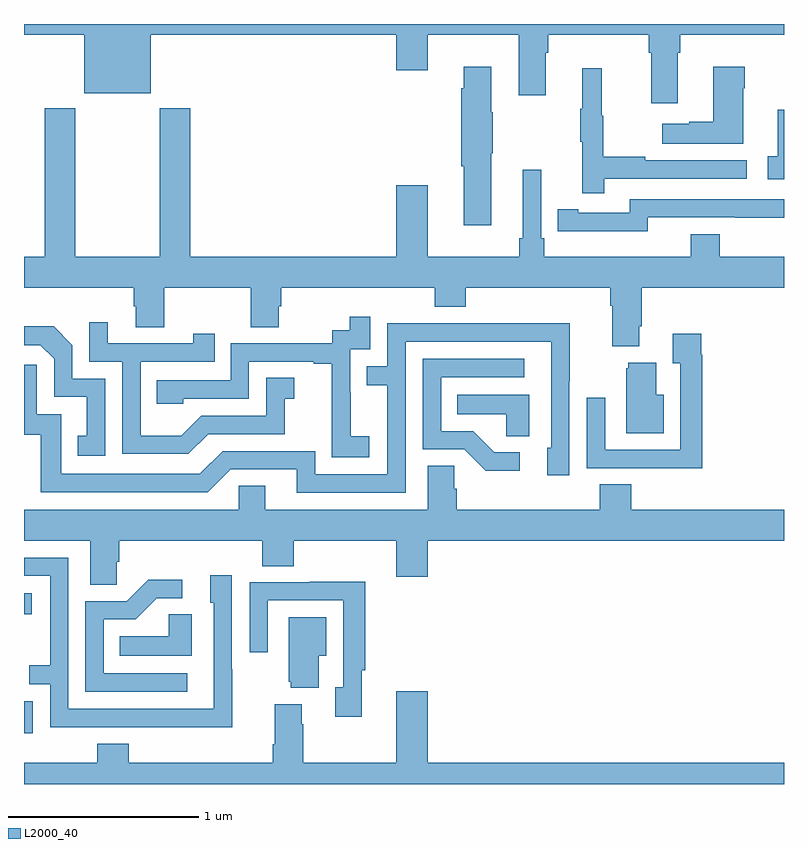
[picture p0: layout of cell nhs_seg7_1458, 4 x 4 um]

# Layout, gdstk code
import gdstk
lib = gdstk.Library(unit=1e-6, precision=1e-09)
def R(c, l, rs):  # rectangles x0, y0, x1, y1
    for r in rs: c.add(gdstk.rectangle(r[:2], r[2:], *l))
def P(c, l, *ps):  # polygons
    for p in ps: c.add(gdstk.Polygon(p, *l))
L2000_40 = (2000, 40)

nhs_seg7_1458 = lib.new_cell('nhs_seg7_1458')
R(nhs_seg7_1458, L2000_40, [(211,1002.267,211.047,1002.435), (211,1002.893,211.042,1003.003)])
P(nhs_seg7_1458, L2000_40, [(214.441,1005.848),(214.454,1005.848),(214.454,1005.944),(215,1005.944),(215,1006),(211,1006),(211,1005.944),(211.316,1005.944),(211.316,1005.635),(211.666,1005.635),(211.666,1005.944),(212.96,1005.944),(212.96,1005.756),(213.124,1005.756),(213.124,1005.944),(213.605,1005.944),(213.605,1005.624),(213.745,1005.624),(213.745,1005.848),(213.758,1005.848),(213.758,1005.944),(214.289,1005.944),(214.289,1005.848),(214.301,1005.848),(214.301,1005.582),(214.441,1005.582)],
  [(213.46,1005.319),(213.468,1005.319),(213.468,1005.536),(213.46,1005.536),(213.46,1005.775),(213.314,1005.775),(213.314,1005.662),(213.302,1005.662),(213.302,1005.252),(213.314,1005.252),(213.314,1004.94),(213.46,1004.94)],
  [(214.786,1005.662),(214.794,1005.662),(214.794,1005.775),(214.628,1005.775),(214.628,1005.485),(214.502,1005.485),(214.502,1005.475),(214.359,1005.475),(214.359,1005.371),(214.786,1005.371)],
  [(214.055,1005.186),(214.804,1005.186),(214.804,1005.282),(214.271,1005.282),(214.271,1005.302),(214.048,1005.302),(214.048,1005.516),(214.04,1005.516),(214.04,1005.766),(213.938,1005.766),(213.938,1005.553),(213.927,1005.553),(213.927,1005.379),(213.938,1005.379),(213.938,1005.108),(214.055,1005.108)],
  [(214.237,1004.41),(214.25,1004.41),(214.25,1004.612),(215,1004.612),(215,1004.776),(214.661,1004.776),(214.661,1004.893),(214.508,1004.893),(214.508,1004.776),(213.737,1004.776),(213.737,1004.872),(213.723,1004.872),(213.723,1005.232),(213.626,1005.232),(213.626,1004.872),(213.607,1004.872),(213.607,1004.776),(213.124,1004.776),(213.124,1005.151),(212.96,1005.151),(212.96,1004.776),(211.874,1004.776),(211.874,1005.556),(211.714,1005.556),(211.714,1004.776),(211.269,1004.776),(211.269,1005.556),(211.109,1005.556),(211.109,1004.776),(211,1004.776),(211,1004.612),(211.577,1004.612),(211.577,1004.514),(211.589,1004.514),(211.589,1004.404),(211.737,1004.404),(211.737,1004.612),(212.194,1004.612),(212.194,1004.404),(212.341,1004.404),(212.341,1004.514),(212.354,1004.514),(212.354,1004.612),(213.161,1004.612),(213.161,1004.513),(213.326,1004.513),(213.326,1004.612),(214.085,1004.612),(214.085,1004.516),(214.097,1004.516),(214.097,1004.303),(214.237,1004.303)],
  [(215,1005.55),(214.967,1005.55),(214.967,1005.303),(214.914,1005.303),(214.914,1005.183),(215,1005.183)],
  [(214.284,1004.982),(214.744,1004.982),(214.744,1004.981),(215,1004.981),(215,1005.078),(214.188,1005.078),(214.188,1005.006),(213.916,1005.006),(213.916,1005.026),(213.808,1005.026),(213.808,1004.91),(213.916,1004.91),(213.916,1004.909),(214.284,1004.909)],
  [(212.818,1003.831),(212.72,1003.831),(212.72,1004.06),(212.718,1004.06),(212.718,1004.289),(212.823,1004.289),(212.823,1004.458),(212.715,1004.458),(212.715,1004.388),(212.622,1004.388),(212.622,1004.319),(212.088,1004.319),(212.088,1004.124),(211.699,1004.124),(211.699,1004.001),(211.839,1004.001),(211.839,1004.028),(212.184,1004.028),(212.184,1004.223),(212.525,1004.223),(212.525,1004.211),(212.621,1004.211),(212.621,1003.927),(212.62,1003.927),(212.62,1003.721),(212.818,1003.721)],
  [(211.969,1003.842),(212.373,1003.842),(212.373,1004.027),(212.422,1004.027),(212.422,1004.137),(212.274,1004.137),(212.274,1003.938),(211.932,1003.938),(211.828,1003.834),(211.614,1003.834),(211.614,1004.223),(212.003,1004.223),(212.003,1004.371),(211.892,1004.371),(211.892,1004.319),(211.441,1004.319),(211.441,1004.431),(211.344,1004.431),(211.344,1004.223),(211.518,1004.223),(211.518,1003.737),(211.864,1003.737)],
  [(213.009,1004.328),(213.774,1004.328),(213.774,1003.77),(213.755,1003.77),(213.755,1003.626),(213.87,1003.626),(213.87,1004.119),(213.873,1004.119),(213.873,1004.426),(213.409,1004.426),(213.409,1004.424),(212.913,1004.424),(212.913,1004.199),(212.803,1004.199),(212.803,1004.098),(212.913,1004.098),(212.913,1003.629),(212.532,1003.629),(212.532,1003.752),(212.046,1003.752),(211.926,1003.632),(211.197,1003.632),(211.197,1003.947),(211.068,1003.947),(211.068,1004.206),(211,1004.206),(211,1003.839),(211.089,1003.839),(211.089,1003.536),(211.968,1003.536),(212.088,1003.656),(212.435,1003.656),(212.435,1003.533),(213.009,1003.533)],
  [(211.428,1004.133),(211.254,1004.133),(211.254,1004.31),(211.156,1004.408),(211,1004.408),(211,1004.31),(211.086,1004.31),(211.158,1004.238),(211.158,1004.037),(211.331,1004.037),(211.331,1003.833),(211.282,1003.833),(211.282,1003.728),(211.428,1003.728)],
  [(214.571,1004.258),(214.564,1004.258),(214.564,1004.371),(214.415,1004.371),(214.415,1004.215),(214.455,1004.215),(214.455,1003.758),(214.059,1003.758),(214.059,1004.032),(213.963,1004.032),(213.963,1003.662),(214.279,1003.662),(214.279,1003.661),(214.571,1003.661)],
  [(213.61,1003.746),(213.475,1003.746),(213.364,1003.857),(213.195,1003.857),(213.195,1004.142),(213.634,1004.142),(213.634,1004.238),(213.099,1004.238),(213.099,1003.761),(213.318,1003.761),(213.431,1003.649),(213.61,1003.649)],
  [(214.366,1004.05),(214.327,1004.05),(214.327,1004.218),(214.181,1004.218),(214.181,1004.187),(214.169,1004.187),(214.169,1003.847),(214.366,1003.847)],
  [(213.658,1004.05),(213.28,1004.05),(213.28,1003.946),(213.537,1003.946),(213.537,1003.831),(213.658,1003.831)],
  [(211.488,1003.171),(211.502,1003.171),(211.502,1003.28),(212.255,1003.28),(212.255,1003.147),(212.42,1003.147),(212.42,1003.28),(212.96,1003.28),(212.96,1003.092),(213.124,1003.092),(213.124,1003.28),(215,1003.28),(215,1003.444),(214.196,1003.444),(214.196,1003.577),(214.031,1003.577),(214.031,1003.444),(213.278,1003.444),(213.278,1003.553),(213.264,1003.553),(213.264,1003.676),(213.125,1003.676),(213.125,1003.444),(212.269,1003.444),(212.269,1003.571),(212.13,1003.571),(212.13,1003.444),(211,1003.444),(211,1003.28),(211.349,1003.28),(211.349,1003.048),(211.488,1003.048)],
  [(212.097,1002.605),(212.094,1002.605),(212.094,1003.099),(211.979,1003.099),(211.979,1002.954),(211.998,1002.954),(211.998,1002.396),(211.233,1002.396),(211.233,1003.191),(211,1003.191),(211,1003.095),(211.137,1003.095),(211.137,1002.626),(211.027,1002.626),(211.027,1002.525),(211.137,1002.525),(211.137,1002.3),(211.633,1002.3),(211.633,1002.299),(212.097,1002.299)],
  [(211.858,1002.582),(211.419,1002.582),(211.419,1002.867),(211.588,1002.867),(211.699,1002.978),(211.834,1002.978),(211.834,1003.076),(211.655,1003.076),(211.542,1002.963),(211.323,1002.963),(211.323,1002.486),(211.858,1002.486)],
  [(212.777,1002.598),(212.795,1002.598),(212.795,1003.064),(212.503,1003.064),(212.503,1003.062),(212.187,1003.062),(212.187,1002.693),(212.283,1002.693),(212.283,1002.966),(212.679,1002.966),(212.679,1002.51),(212.639,1002.51),(212.639,1002.354),(212.777,1002.354)],
  [(211.882,1002.893),(211.761,1002.893),(211.761,1002.778),(211.504,1002.778),(211.504,1002.674),(211.882,1002.674)],
  [(212.551,1002.674),(212.59,1002.674),(212.59,1002.877),(212.393,1002.877),(212.393,1002.537),(212.405,1002.537),(212.405,1002.506),(212.551,1002.506)],
  [(215,1002.112),(213.124,1002.112),(213.124,1002.487),(212.96,1002.487),(212.96,1002.112),(212.469,1002.112),(212.469,1002.314),(212.461,1002.314),(212.461,1002.421),(212.321,1002.421),(212.321,1002.208),(212.309,1002.208),(212.309,1002.112),(211.55,1002.112),(211.55,1002.211),(211.385,1002.211),(211.385,1002.112),(211,1002.112),(211,1002),(215,1002)])

lib.write_gds('nhs_seg7_1458.gds')
